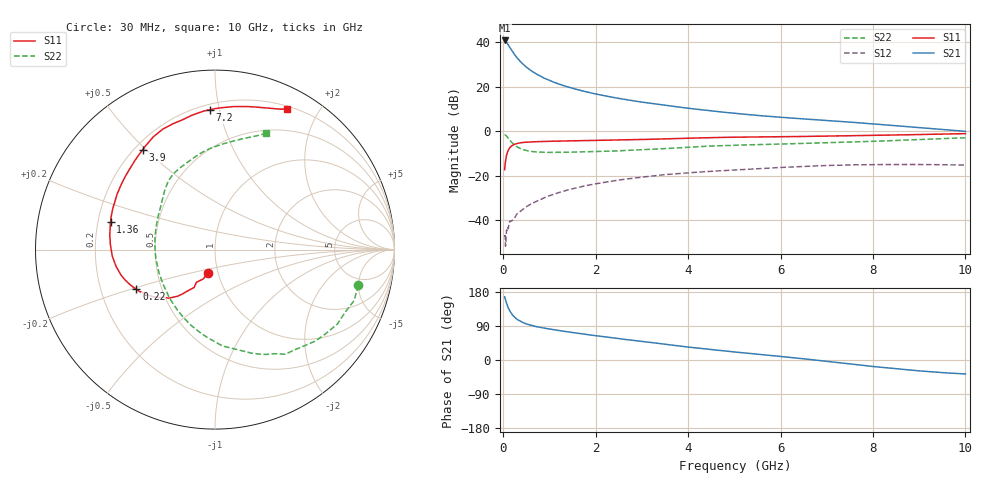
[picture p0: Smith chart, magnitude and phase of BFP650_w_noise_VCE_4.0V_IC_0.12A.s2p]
! Infineon Technologies  Discrete & RF Semiconductors
! BFP650
! VCE =  4.0 V,  IC = 0.12 A
! Common Emitter S-Parameters:  Jan 2016
# GHz  S  MA  R  50
!  f  S11  S21  S12  S22
! GHz  MAG  ANG  MAG  ANG  MAG  ANG  MAG  ANG
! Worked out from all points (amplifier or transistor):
!   229 points, 30 MHz to 10 GHz, reference 50 ohm
!   highest |S21| = 40.7 dB at 30 MHz (marker M1)
!   |S21| within 3 dB of that: start of sweep to 139.9 MHz
!   unconditionally stable (mu >= 1): 1.081 GHz to end of sweep
!   at 280 MHz: K = 0.71, MSG = 35.6 dB, |S12| = -37.8 dB
!   at 1.78 GHz: K = 1.03, MAG = 20.1 dB, |S12| = -24.5 dB
!   at 10 GHz: K = 1.02, MAG = 6.6 dB, |S12| = -15.2 dB
!   lowest NFmin = 1.60 dB at 450 MHz
!   S11 on the Smith chart (normalised r, x): 30 MHz: 0.89, -0.24; 220 MHz: 0.36, -0.21; 1.36 GHz: 0.25, +0.12; 3.9 GHz: 0.23, +0.49; 7.2 GHz: 0.24, +0.93; 10 GHz: 0.23, +1.61
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0.03  0.1364 -107.0  109 166.9  0.0042 81.1  0.8233 -14.0
0.04  0.1766 -111.9  107.9 162.4  0.0045 81.7  0.825 -20.2
0.06  0.2411 -118.9  103.2 154.6  0.0035 91.7  0.7981 -31.3
0.08  0.3061 -126.2  96.77 147.0  0.0058 67.6  0.7571 -42.2
0.1  0.3545 -131.6  90.21 140.5  0.007 63.9  0.714 -51.3
0.125  0.3981 -137.9  81.58 133.6  0.0079 61.9  0.66 -61.9
0.15  0.4344 -142.8  74.11 127.9  0.0093 65.0  0.6122 -70.5
0.2  0.4804 -150.8  61.48 118.7  0.0099 64.4  0.5384 -85.6
0.22  0.491 -153.2  57.51 116.3  0.0105 63.3  0.5137 -90.0
0.26  0.5121 -157.6  50.26 111.3  0.0118 62.1  0.4738 -99.2
0.34  0.5391 -164.0  39.69 104.3  0.0149 61.7  0.4207 -113.7
0.5  0.5639 -172.7  27.5 95.2  0.02 63.5  0.3677 -134.3
0.8  0.5836 177.5  17.21 86.0  0.0287 65.3  0.338 -157.4
1.36  0.6015 165.3  10.11 75.0  0.0464 62.3  0.3344 179.2
1.7  0.6118 159.1  8.074 69.2  0.0569 58.9  0.3402 169.9
3.4  0.6642 132.9  3.933 43.1  0.1026 40.0  0.3996 137.7
3.9  0.6875 125.9  3.37 35.7  0.1135 33.9  0.4294 131.0
5.1  0.7329 112.4  2.46 20.1  0.1357 21.8  0.485 117.4
6.8  0.7679 96.6  1.796 -0.7  0.1658 4.1  0.5401 99.0
7.2  0.7794 92.2  1.68 -6.2  0.1709 -0.6  0.5542 95.2
8.4  0.817 77.3  1.347 -21.9  0.1779 -14.0  0.611 80.9
10  0.8786 63.0  0.989 -36.8  0.1731 -26.8  0.7083 66.3
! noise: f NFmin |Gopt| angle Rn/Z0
0.45  1.6  0.6  -171  0.06
0.9  1.62  0.61  -164  0.07
1.9  1.77  0.62  -149  0.11
2.4  1.88  0.61  -140  0.16
3.5  2.06  0.62  -118  0.29
